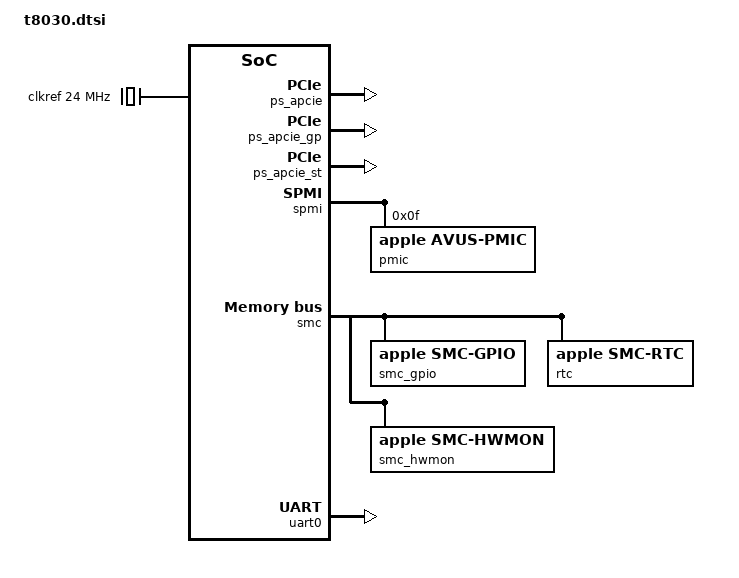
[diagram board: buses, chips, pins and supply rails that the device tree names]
// SPDX-License-Identifier: GPL-2.0-only OR MIT
/*
 * Apple T8030 "A13" SoC
 *
 * WIP, Tested on D421
 *
 * Copyright (c) 2026, Yuriy Havrylyuk <yhavry@gmail.com>
 */

#include <dt-bindings/gpio/gpio.h>
#include <dt-bindings/interrupt-controller/apple-aic.h>
#include <dt-bindings/interrupt-controller/irq.h>
#include <dt-bindings/pinctrl/apple.h>
#include <dt-bindings/phy/phy.h>

#include <dt-bindings/spmi/spmi.h>

/ {
	#address-cells = <2>;
	#size-cells = <2>;

	aliases {
		serial0 = &uart0;
	};

	clkref: clock-ref {
		compatible = "fixed-clock";
		#clock-cells = <0>;
		clock-frequency = <24000000>;
	};

	memory@800000000 {
		device_type = "memory";
		reg = <0x8 0 0 0>; /* To be filled by loader */
	};

	cpus {
		#address-cells = <2>;
		#size-cells = <0>;

		cpu@0 {
			compatible = "apple,thunder";
			device_type = "cpu";
			reg = <0x0 0x0>;
			enable-method = "spin-table";
			cpu-release-addr = <0 0>;
			operating-points-v2 = <&t8030_ecpu_opp>;
			performance-domains = <&cpufreq_e>;
		};

		cpu@1 {
			compatible = "apple,thunder";
			device_type = "cpu";
			reg = <0x0 0x1>;
			enable-method = "spin-table";
			cpu-release-addr = <0 0>;
			operating-points-v2 = <&t8030_ecpu_opp>;
			performance-domains = <&cpufreq_e>;
		};

		cpu@2 {
			compatible = "apple,thunder";
			device_type = "cpu";
			reg = <0x0 0x2>;
			enable-method = "spin-table";
			cpu-release-addr = <0 0>;
			operating-points-v2 = <&t8030_ecpu_opp>;
			performance-domains = <&cpufreq_e>;
		};

		cpu@3 {
			compatible = "apple,thunder";
			device_type = "cpu";
			reg = <0x0 0x3>;
			enable-method = "spin-table";
			cpu-release-addr = <0 0>;
			operating-points-v2 = <&t8030_ecpu_opp>;
			performance-domains = <&cpufreq_e>;
		};

		cpu@10100 {
			compatible = "apple,lightning";
			device_type = "cpu";
			reg = <0x0 0x10100>;
			enable-method = "spin-table";
			cpu-release-addr = <0 0>;
			operating-points-v2 = <&t8030_pcpu_opp>;
			performance-domains = <&cpufreq_p>;
		};

		cpu@10101 {
			compatible = "apple,lightning";
			device_type = "cpu";
			reg = <0x0 0x10101>;
			enable-method = "spin-table";
			cpu-release-addr = <0 0>;
			operating-points-v2 = <&t8030_pcpu_opp>;
			performance-domains = <&cpufreq_p>;
		};
	};

	t8030_ecpu_opp: opp-table-1 {
		compatible = "operating-points-v2";
		opp-shared;

		opp01 {
			opp-hz = /bits/ 64 <576000000>;
			opp-level = <1>;
			clock-latency-ns = <7500>;
		};

		opp02 {
			opp-hz = /bits/ 64 <864000000>;
			opp-level = <2>;
			clock-latency-ns = <22000>;
		};

		opp03 {
			opp-hz = /bits/ 64 <1152000000>;
			opp-level = <3>;
			clock-latency-ns = <27000>;
		};

		opp04 {
			opp-hz = /bits/ 64 <1440000000>;
			opp-level = <4>;
			clock-latency-ns = <33000>;
		};

		opp05 {
			opp-hz = /bits/ 64 <1728000000>;
			opp-level = <5>;
			clock-latency-ns = <50000>;
		};
	};

	t8030_pcpu_opp: opp-table-5 {
		compatible = "operating-points-v2";
		opp-shared;

		opp01 {
			opp-hz = /bits/ 64 <540000000>;
			opp-level = <1>;
			clock-latency-ns = <8000>;
		};

		opp02 {
			opp-hz = /bits/ 64 <912000000>;
			opp-level = <2>;
			clock-latency-ns = <19000>;
		};

		opp03 {
			opp-hz = /bits/ 64 <1296000000>;
			opp-level = <3>;
			clock-latency-ns = <21000>;
		};

		opp04 {
			opp-hz = /bits/ 64 <1860000000>;
			opp-level = <4>;
			clock-latency-ns = <23000>;
		};

		opp05 {
			opp-hz = /bits/ 64 <2184000000>;
			opp-level = <5>;
			clock-latency-ns = <24000>;
		};

		opp06 {
			opp-hz = /bits/ 64 <2400000000>;
			opp-level = <6>;
			clock-latency-ns = <29000>;
		};

#if 0
		/* Not available until T8030 high-performance P-states are supported */
		opp07 {
			opp-hz = /bits/ 64 <2592000000>;
			opp-level = <7>;
			clock-latency-ns = <31000>;
		};

		opp08 {
			opp-hz = /bits/ 64 <2664000000>;
			opp-level = <8>;
			clock-latency-ns = <34000>;
		};
#endif
	};

	timer {
		compatible = "arm,armv8-timer";
		interrupt-parent = <&aic>;
		interrupt-names = "phys", "virt", "hyp-phys", "hyp-virt";
		interrupts = <AIC_FIQ AIC_TMR_GUEST_PHYS IRQ_TYPE_LEVEL_HIGH>,
			     <AIC_FIQ AIC_TMR_GUEST_VIRT IRQ_TYPE_LEVEL_HIGH>,
			     <AIC_FIQ AIC_TMR_HV_PHYS IRQ_TYPE_LEVEL_HIGH>,
			     <AIC_FIQ AIC_TMR_HV_VIRT IRQ_TYPE_LEVEL_HIGH>;
	};

	reserved-memory {
		#address-cells = <2>;
		#size-cells = <2>;
		ranges;
	};

	soc {
		compatible = "simple-bus";
		#address-cells = <2>;
		#size-cells = <2>;
		ranges;
		nonposted-mmio;
		interrupt-parent = <&aic>;

		pmgr: power-management@23b000000 {
			compatible = "apple,t8030-pmgr", "apple,t8103-pmgr",
				     "syscon", "simple-mfd";
			reg = <0x2 0x3b000000 0x0 0x100000>;
			#address-cells = <1>;
			#size-cells = <1>;

			ps_apcie: power-controller@80378 {
				compatible = "apple,t8030-pmgr-pwrstate",
					     "apple,t8103-pmgr-pwrstate";
				reg = <0x80378 4>;
				#power-domain-cells = <0>;
				#reset-cells = <0>;
				label = "apcie";
			};

			ps_apcie_gp: power-controller@80380 {
				compatible = "apple,t8030-pmgr-pwrstate",
					     "apple,t8103-pmgr-pwrstate";
				reg = <0x80380 4>;
				#power-domain-cells = <0>;
				#reset-cells = <0>;
				label = "apcie_gp";
				power-domains = <&ps_apcie>;
			};

			ps_ans2: power-controller@80388 {
				compatible = "apple,t8030-pmgr-pwrstate",
					     "apple,t8103-pmgr-pwrstate";
				reg = <0x80388 4>;
				#power-domain-cells = <0>;
				#reset-cells = <0>;
				label = "ans2";
			};

			ps_apcie_st: power-controller@803b0 {
				compatible = "apple,t8030-pmgr-pwrstate",
					     "apple,t8103-pmgr-pwrstate";
				reg = <0x803b0 4>;
				#power-domain-cells = <0>;
				#reset-cells = <0>;
				label = "apcie_st";
				power-domains = <&ps_apcie>, <&ps_ans2>;
			};
		};

		aic: interrupt-controller@23b100000 {
			compatible = "apple,t8030-aic", "apple,aic";
			reg = <0x2 0x3b100000 0x0 0x8000>;
			#interrupt-cells = <3>;
			interrupt-controller;
		};

		pinctrl_ap: pinctrl@23c100000 {
			compatible = "apple,t8030-pinctrl",
				     "apple,t8103-pinctrl";
			reg = <0x2 0x3c100000 0x0 0x100000>;

			gpio-controller;
			#gpio-cells = <2>;
			gpio-ranges = <&pinctrl_ap 0 0 212>;
			apple,npins = <212>;

			interrupt-controller;
			#interrupt-cells = <2>;
			interrupts = <AIC_IRQ 131 IRQ_TYPE_LEVEL_HIGH>,
				     <AIC_IRQ 132 IRQ_TYPE_LEVEL_HIGH>,
				     <AIC_IRQ 133 IRQ_TYPE_LEVEL_HIGH>,
				     <AIC_IRQ 134 IRQ_TYPE_LEVEL_HIGH>,
				     <AIC_IRQ 135 IRQ_TYPE_LEVEL_HIGH>,
				     <AIC_IRQ 136 IRQ_TYPE_LEVEL_HIGH>,
				     <AIC_IRQ 137 IRQ_TYPE_LEVEL_HIGH>;

			pcie_pins: pcie-pins {
				pinmux = <APPLE_PINMUX(33, 1)>;
			};
		};

		spmi: spmi@23d180700 {
			compatible = "apple,t8030-spmi",
				     "apple,t8103-spmi";
			reg = <0x2 0x3d180700 0x0 0x100>;
			#address-cells = <2>;
			#size-cells = <0>;

			pmic@f {
				compatible = "apple,avus-pmic",
					     "apple,spmi-pmic";
				reg = <0xf SPMI_USID>;
				#address-cells = <1>;
				#size-cells = <1>;

				rtc@1100 {
					compatible = "apple,avus-pmic-rtc",
						     "apple,antigua-pmic-rtc";
					reg = <0x1100 0x10>;
					nvmem-cells = <&rtc_offset>;
					nvmem-cell-names = "rtc_offset";
				};

				nvmem@9f00 {
					compatible = "apple,pmic-nvmem";
					reg = <0x9f00 0x300>;

					nvmem-layout {
						compatible = "fixed-layout";
						#address-cells = <1>;
						#size-cells = <1>;

						boot_stage: boot-stage@1 {
							reg = <0x1 0x1>;
						};

						boot_error_count: boot-error-count@2,0 {
							reg = <0x2 0x1>;
							bits = <0 4>;
						};

						panic_count: panic-count@2,4 {
							reg = <0x2 0x1>;
							bits = <4 4>;
						};

						rtc_offset: rtc-offset@4 {
							reg = <0x4 0x4>;
						};

						shutdown_flag: shutdown-flag@f,3 {
							reg = <0xf 0x1>;
							bits = <3 1>;
						};
					};
				};
			};
		};

		wdt: watchdog@23d2b0000 {
			compatible = "apple,t8030-wdt",
				     "apple,t8103-wdt";
			reg = <0x2 0x3d2b0000 0x0 0x4000>;
			clocks = <&clkref>;
			interrupts = <AIC_IRQ 237 IRQ_TYPE_LEVEL_HIGH>;
		};

		cpufreq_e: performance-controller@210e20000 {
			compatible = "apple,t8030-cluster-cpufreq",
				     "apple,t8103-cluster-cpufreq",
				     "apple,cluster-cpufreq";
			reg = <0x2 0x10e20000 0x0 0x1000>;
			#performance-domain-cells = <0>;
		};

		cpufreq_p: performance-controller@211e20000 {
			compatible = "apple,t8030-cluster-cpufreq",
				     "apple,t8103-cluster-cpufreq",
				     "apple,cluster-cpufreq";
			reg = <0x2 0x11e20000 0x0 0x1000>;
			#performance-domain-cells = <0>;
		};

		smc: smc@23e400000 {
			compatible = "apple,t8030-smc", "apple,t8103-smc";
			reg = <0x2 0x3e400000 0x0 0x4000>,
			      <0x2 0x3fe00000 0x0 0x60000>;
			reg-names = "smc", "sram";
			mboxes = <&smc_mbox>;
			status = "okay";

			smc_gpio: gpio {
				compatible = "apple,smc-gpio";
				gpio-controller;
				#gpio-cells = <2>;
			};

			smc_reboot: reboot {
				compatible = "apple,t8030-smc-reboot", "apple,smc-reboot";
				nvmem-cells = <&shutdown_flag>, <&boot_stage>,
					      <&boot_error_count>, <&panic_count>;
				nvmem-cell-names = "shutdown_flag", "boot_stage",
						   "boot_error_count", "panic_count";
			};

			rtc {
				compatible = "apple,smc-rtc";
				nvmem-cells = <&rtc_offset>;
				nvmem-cell-names = "rtc_offset";
			};

			smc_hwmon: hwmon {
				compatible = "apple,smc-hwmon";
			};
		};

		smc_mbox: mbox@23e408000 {
			compatible = "apple,t8030-asc-mailbox",
				     "apple,t8015-asc-mailbox";
			reg = <0x2 0x3e408000 0x0 0x4000>;
			interrupts = <AIC_IRQ 270 IRQ_TYPE_LEVEL_HIGH>,
				     <AIC_IRQ 271 IRQ_TYPE_LEVEL_HIGH>,
				     <AIC_IRQ 272 IRQ_TYPE_LEVEL_HIGH>,
				     <AIC_IRQ 273 IRQ_TYPE_LEVEL_HIGH>;
			interrupt-names = "send-empty", "send-not-empty",
					  "recv-empty", "recv-not-empty";
			#mbox-cells = <0>;
			status = "okay";
		};

		uart0: serial@235200000 {
			compatible = "apple,s5l-uart";
			reg = <0x2 0x35200000 0x0 0x4000>;
			reg-io-width = <4>;
			interrupts = <AIC_IRQ 435 IRQ_TYPE_LEVEL_HIGH>;
			clocks = <&clkref>, <&clkref>;
			clock-names = "uart", "clk_uart_baud0";
		};

		usb2phy: phy@239000060 {
			compatible = "apple,t8030-ausb-phy", "apple,ausb-phy";
			reg = <0x2 0x39000060 0x0 0x20>;
			#phy-cells = <1>;
			power-domains = <&ps_usbctl>;
			status = "disabled";
		};

		usb_dart0: iommu@239024000 {
			compatible = "apple,t8103-dart";
			reg = <0x2 0x39024000 0x0 0x4000>;
			interrupts = <AIC_IRQ 501 IRQ_TYPE_LEVEL_HIGH>;
			#iommu-cells = <1>;
			power-domains = <&ps_usbctl>;
			status = "disabled";
		};

		usb_dart1: iommu@239028000 {
			compatible = "apple,t8103-dart";
			reg = <0x2 0x39028000 0x0 0x4000>;
			interrupts = <AIC_IRQ 501 IRQ_TYPE_LEVEL_HIGH>;
			#iommu-cells = <1>;
			power-domains = <&ps_usb2dev>;
			status = "disabled";
		};

		usb_drd: usb@239010000 {
			compatible = "apple,t8030-dwc3", "apple,t8103-dwc3";
			reg = <0x2 0x39010000 0x0 0xcd00>,
			      <0x2 0x3901cd00 0x0 0x3200>;
			reg-names = "dwc3-core", "dwc3-apple";
			interrupts = <AIC_IRQ 497 IRQ_TYPE_LEVEL_HIGH>;
			iommus = <&usb_dart0 3>, <&usb_dart1 3>;
			power-domains = <&ps_usb31drd>;
			resets = <&ps_usb31drd>;
			phys = <&usb2phy PHY_TYPE_USB2>;
			phy-names = "usb2-phy";
			status = "disabled";
		};

		ans_mbox: mbox@277408000 {
			compatible = "apple,t8030-asc-mailbox",
				     "apple,t8015-asc-mailbox";
			reg = <0x2 0x77408000 0x0 0x4000>;
			interrupts = <AIC_IRQ 361 IRQ_TYPE_LEVEL_HIGH>,
				     <AIC_IRQ 416 IRQ_TYPE_LEVEL_HIGH>,
				     <AIC_IRQ 418 IRQ_TYPE_LEVEL_HIGH>,
				     <AIC_IRQ 419 IRQ_TYPE_LEVEL_HIGH>;
			interrupt-names = "send-empty", "send-not-empty",
					  "recv-empty", "recv-not-empty";
			#mbox-cells = <0>;
			power-domains = <&ps_ans2>;
			status = "okay";
		};

		sart: iommu@27ac50000 {
			compatible = "apple,t8030-sart";
			reg = <0x2 0x7ac50000 0x0 0x4000>;
			power-domains = <&ps_ans2>;
		};

		nvme@27acc0000 {
			compatible = "apple,t8030-nvme-ans2";
			reg = <0x2 0x7acc0000 0x0 0x60000>,
			      <0x2 0x77400000 0x0 0x4000>;
			reg-names = "nvme", "ans";
			interrupts = <AIC_IRQ 422 IRQ_TYPE_LEVEL_HIGH>;
			mboxes = <&ans_mbox>;
			apple,sart = <&sart>;
			power-domains = <&ps_ans2>, <&ps_apcie_st>;
			power-domain-names = "ans", "apcie0";
			resets = <&ps_ans2>;
		};

		pcie_dart2: iommu@603008000 {
			compatible = "apple,t8103-dart";
			reg = <0x6 0x03008000 0x0 0x4000>;
			interrupts = <AIC_IRQ 539 IRQ_TYPE_LEVEL_HIGH>;
			#iommu-cells = <1>;
			power-domains = <&ps_apcie_gp>;
			status = "disabled";
		};

		pcie0: pcie@610000000 {
			compatible = "apple,t8030-pcie", "apple,pcie";
			device_type = "pci";

			reg = <0x6 0x10000000 0x0 0x1000000>,
			      <0x6 0x00000000 0x0 0x4000>,
			      <0x6 0x01000000 0x0 0x8000>,
			      <0x6 0x02000000 0x0 0x8000>,
			      <0x6 0x03000000 0x0 0x8000>,
			      <0x6 0x04000000 0x0 0x8000>,
			      <0x6 0x00090000 0x0 0x4000>;
			reg-names = "config", "rc", "port0", "port1", "port2",
				    "port3", "phy2";

			interrupts = <AIC_IRQ 532 IRQ_TYPE_LEVEL_HIGH>,
				     <AIC_IRQ 535 IRQ_TYPE_LEVEL_HIGH>,
				     <AIC_IRQ 538 IRQ_TYPE_LEVEL_HIGH>,
				     <AIC_IRQ 541 IRQ_TYPE_LEVEL_HIGH>;

			msi-controller;
			msi-parent = <&pcie0>;
			msi-ranges = <&aic AIC_IRQ 544 IRQ_TYPE_EDGE_RISING 32>;

			iommu-map = <0x100 &pcie_dart2 0 2>;
			iommu-map-mask = <0xffff>;

			bus-range = <0 8>;
			#address-cells = <3>;
			#size-cells = <2>;
			ranges = <0x43000000 0x6 0x20000000
				  0x6 0x20000000 0x0 0x20000000>,
				 <0x02000000 0x0 0x40000000
				  0x6 0x40000000 0x0 0x40000000>;

			power-domains = <&ps_apcie_gp>;
			pinctrl-0 = <&pcie_pins>;
			pinctrl-names = "default";
			status = "disabled";

			port02: pci@2,0 {
				device_type = "pci";
				reg = <0x1000 0x0 0x0 0x0 0x0>;
				reset-gpios = <&pinctrl_ap 35 GPIO_ACTIVE_LOW>;
				max-link-speed = <2>;

				#address-cells = <3>;
				#size-cells = <2>;
				ranges;

				interrupt-controller;
				#interrupt-cells = <1>;

				interrupt-map-mask = <0 0 0 7>;
				interrupt-map = <0 0 0 1 &port02 0 0 0 0>,
						<0 0 0 2 &port02 0 0 0 1>,
						<0 0 0 3 &port02 0 0 0 2>,
						<0 0 0 4 &port02 0 0 0 3>;
			};
		};
	};
};

#include "t8030-pmgr.dtsi"
